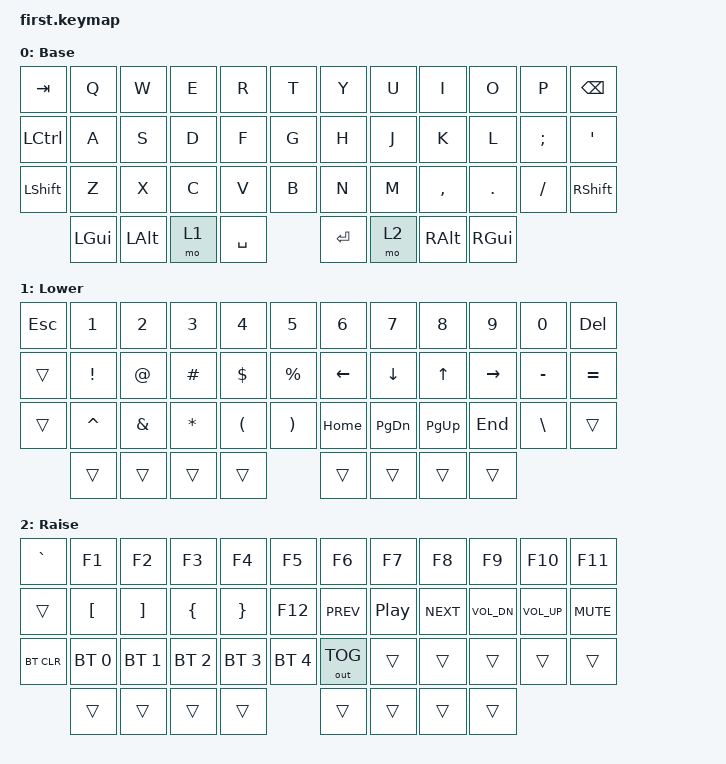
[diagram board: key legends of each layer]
/*
 * first — default keymap (3 layers)
 * 配列は好みに合わせて自由に編集してください。行の並びは物理配置と同じ:
 *   左手 外→内 6キー | 右手 内→外 6キー / 親指は左4+右4
 */
#include <behaviors.dtsi>
#include <dt-bindings/zmk/keys.h>
#include <dt-bindings/zmk/bt.h>
#include <dt-bindings/zmk/outputs.h>

/ {
    keymap {
        compatible = "zmk,keymap";

        base_layer {
            display-name = "Base";
            bindings = <
&kp TAB    &kp Q  &kp W  &kp E     &kp R  &kp T        &kp Y    &kp U  &kp I      &kp O    &kp P     &kp BSPC
&kp LCTRL  &kp A  &kp S  &kp D     &kp F  &kp G        &kp H    &kp J  &kp K      &kp L    &kp SEMI  &kp SQT
&kp LSHFT  &kp Z  &kp X  &kp C     &kp V  &kp B        &kp N    &kp M  &kp COMMA  &kp DOT  &kp FSLH  &kp RSHFT
           &kp LGUI  &kp LALT  &mo 1  &kp SPACE        &kp RET  &mo 2  &kp RALT   &kp RGUI
            >;
        };

        lower_layer {
            display-name = "Lower";
            bindings = <
&kp ESC    &kp N1     &kp N2    &kp N3     &kp N4    &kp N5          &kp N6    &kp N7     &kp N8     &kp N9     &kp N0    &kp DEL
&trans     &kp EXCL   &kp AT    &kp HASH   &kp DLLR  &kp PRCNT       &kp LEFT  &kp DOWN   &kp UP     &kp RIGHT  &kp MINUS &kp EQUAL
&trans     &kp CARET  &kp AMPS  &kp ASTRK  &kp LPAR  &kp RPAR        &kp HOME  &kp PG_DN  &kp PG_UP  &kp END    &kp BSLH  &trans
                      &trans    &trans     &trans    &trans          &trans    &trans     &trans     &trans
            >;
        };

        raise_layer {
            display-name = "Raise";
            bindings = <
&kp GRAVE   &kp F1        &kp F2        &kp F3        &kp F4        &kp F5          &kp F6      &kp F7      &kp F8        &kp F9        &kp F10       &kp F11
&trans      &kp LBKT      &kp RBKT      &kp LBRC      &kp RBRC      &kp F12         &kp C_PREV  &kp C_PP    &kp C_NEXT    &kp C_VOL_DN  &kp C_VOL_UP  &kp C_MUTE
&bt BT_CLR  &bt BT_SEL 0  &bt BT_SEL 1  &bt BT_SEL 2  &bt BT_SEL 3  &bt BT_SEL 4    &out OUT_TOG &trans     &trans        &trans        &trans        &trans
                          &trans        &trans        &trans        &trans          &trans      &trans      &trans        &trans
            >;
        };
    };
};
